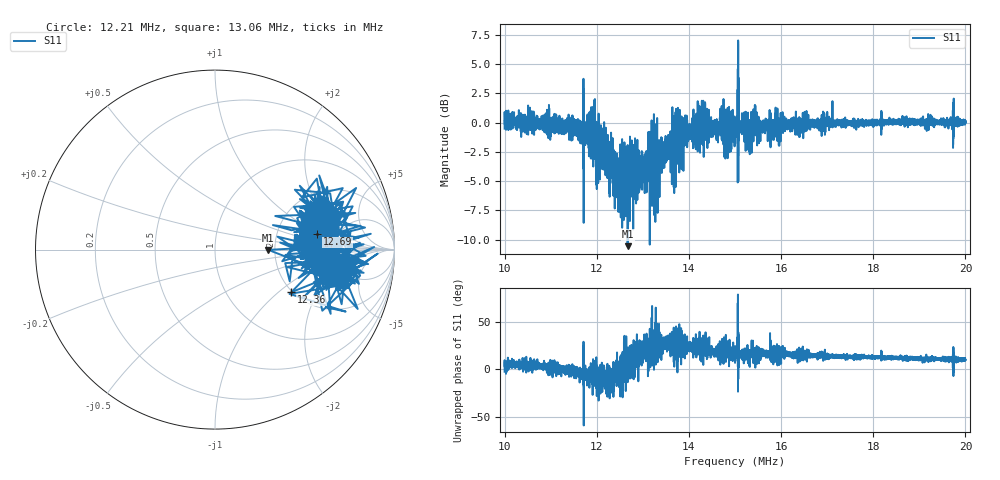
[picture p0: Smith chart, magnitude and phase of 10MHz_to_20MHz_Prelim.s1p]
# HZ S RI R 50
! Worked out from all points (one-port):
!   20200 points, 10 MHz to 20 MHz, reference 50 ohm
!   lowest |S11| = -10.5 dB at 12.67 MHz (marker M1), VSWR 1.84, Z = 92.2 - j0.301 ohm
!   |S11| at or under -10 dB: 12.66999 MHz to 12.67006 MHz (67.53 Hz wide, 0.000533 % of centre); 13.14965 MHz to 13.14971 MHz (53.17 Hz wide, 0.000404 % of centre)
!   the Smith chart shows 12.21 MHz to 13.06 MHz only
!   S11 on the Smith chart (normalised r, x): 12.21 MHz: 5.99, -1.77; 12.36 MHz: 1.97, -1.23; 12.69 MHz: 3.45, +0.88; 13.06 MHz: 2.42, +2.01
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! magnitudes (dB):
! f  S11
! 10 MHz  -0.5
! 10.05 MHz  0.1
! 10.18 MHz  -0.1
! 11.25 MHz  -0.2
! 11.75 MHz  -0.8
! 11.94 MHz  -1.0
! 12.21 MHz  -2.7
! 12.36 MHz  -6.3
! 12.44 MHz  -4.3
! 12.5 MHz  -4.5
! 12.67 MHz  -10.5
! 12.69 MHz  -4.8
! 12.85 MHz  -4.5
! 12.92 MHz  -5.7
! 13.06 MHz  -4.1
! 13.23 MHz  -2.3
! 13.62 MHz  -1.8
! 13.75 MHz  -3.2
! 13.93 MHz  -1.1
! 14.24 MHz  -2.6
! 15 MHz  -1.2
! 15.11 MHz  -0.1
! 15.25 MHz  0.1
! 15.53 MHz  -0.4
! 16.25 MHz  -0.1
! 17.5 MHz  0.1
! 18.75 MHz  0.1
! 20 MHz  0.0
